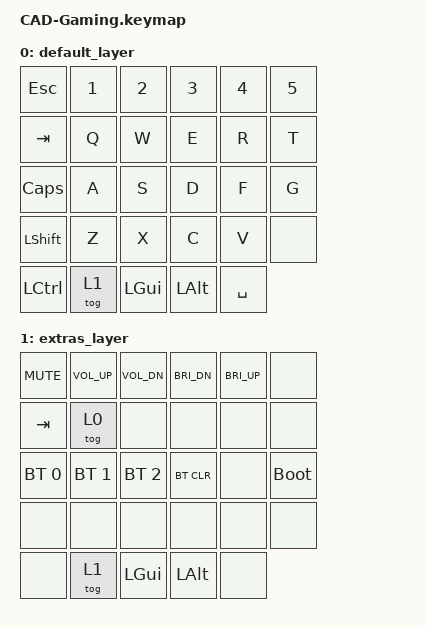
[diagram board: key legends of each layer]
#include <behaviors.dtsi>
#include <dt-bindings/zmk/keys.h>
#include <dt-bindings/zmk/bt.h>

/ {
    keymap {
        compatible = "zmk,keymap";

        default_layer { // Layer 0
            // -------------------------------------
            // |     ESC     |     1     |     2     |     3     |     4     |     5     |
            //         |   Tab     |     Q     |     W     |    E     |     R     |     T     |
            //            |  CapsLock |     A     |     S     |     D     |    F     |     G     |
            //          |      SHIFT     |     Z     |     X     |     C     |    V     |
            //   |    CTRL   |    LAYER 1   |  Windows  |    ALT    |   SPACE   |
            bindings = <
                &kp ESC    &kp 1    &kp 2    &kp 3    &kp 4    &kp 5
                &kp TAB    &kp Q    &kp W    &kp E    &kp R    &kp T
                &kp CAPS   &kp A    &kp S    &kp D    &kp F    &kp G
                &kp LSHIFT &kp Z    &kp X    &kp C    &kp V    &none
                &kp LCTRL  &tog 1    &kp LGUI &kp LALT &kp SPACE
            >;
        };

        extras_layer { // Layer 1
            bindings = <
                &kp C_MUTE   &kp C_VOL_UP  &kp C_VOL_DN  &kp C_BRI_DN    &kp C_BRI_UP    &none
                &kp TAB      &tog 0        &none         &none           &none           &none
                &bt BT_SEL 0 &bt BT_SEL 1  &bt BT_SEL 2  &bt BT_CLR      &none           &bootloader 
                &none        &none         &none         &none           &none           &none
                &none        &tog 1        &kp LGUI      &kp LALT        &none
            >;
        };
    };
 };
